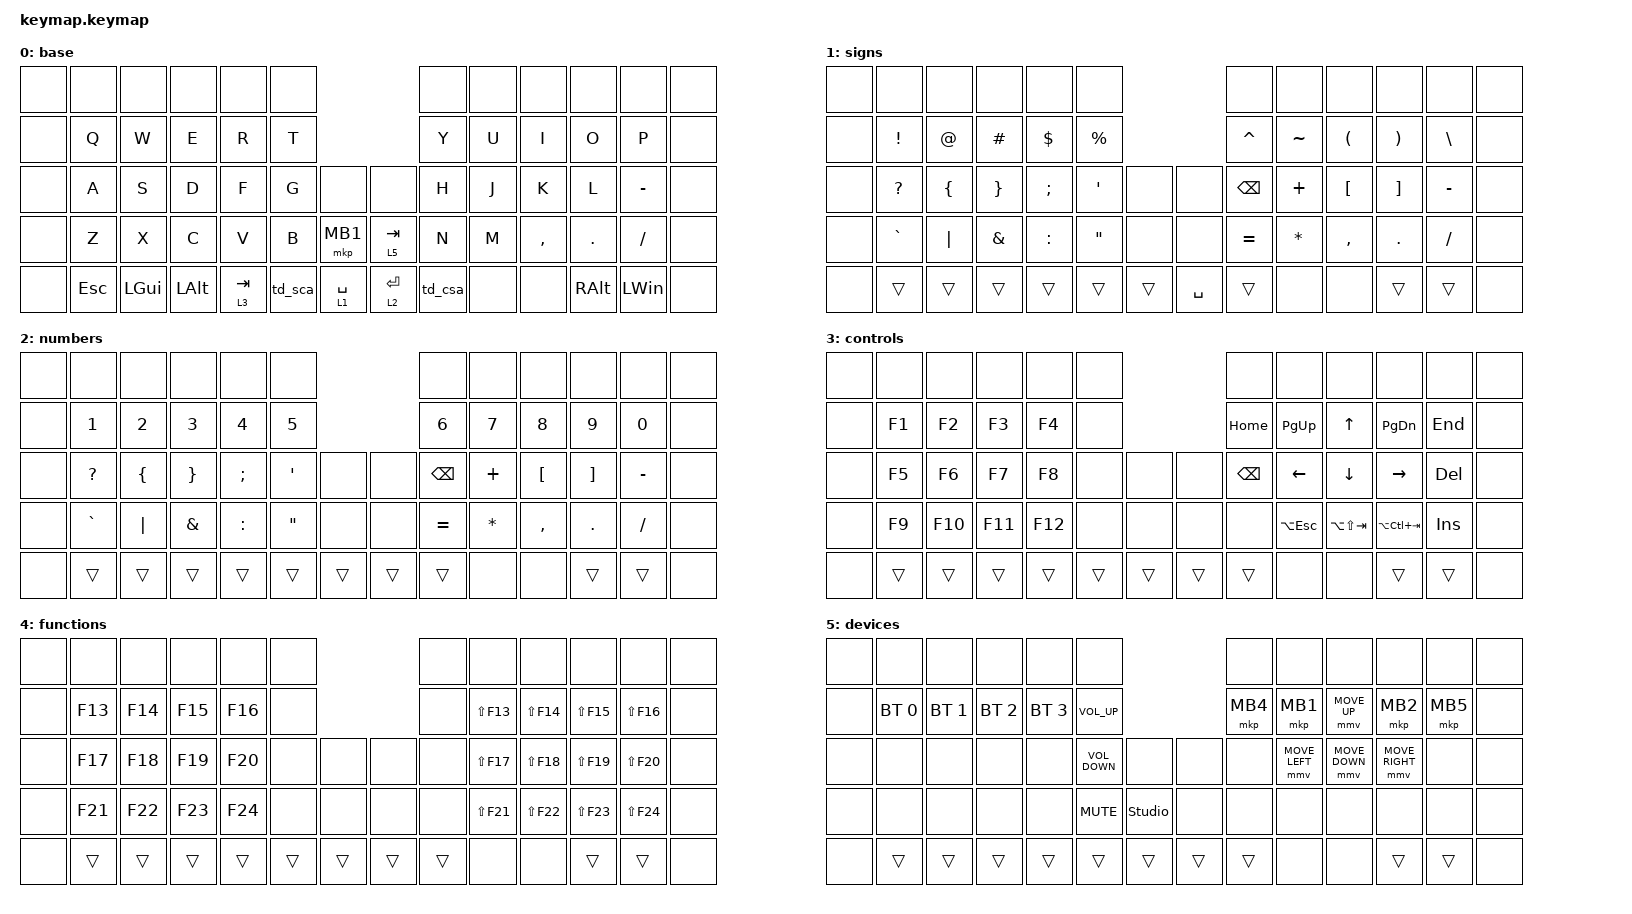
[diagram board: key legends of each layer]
#include <behaviors.dtsi>
#include <dt-bindings/zmk/bt.h>
#include <dt-bindings/zmk/keys.h>
#include <dt-bindings/zmk/pointing.h>

/ {
    combos {
        compatible = "zmk,combos";

        mb2 {
            bindings = <&mkp MB2>;
            key-positions = <34 35>;
            layers = <0>;
        };

        mb3 {
            bindings = <&mkp MB3>;
            key-positions = <33 34>;
            layers = <0>;
        };

        mb4 {
            bindings = <&mkp MB4>;
            key-positions = <33 34>;
            layers = <1>;
        };

        mb5 {
            bindings = <&mkp MB5>;
            key-positions = <34 35>;
            layers = <1>;
        };

        mo4 {
            bindings = <&lt 4 LS(LA(LC(INSERT)))>;
            key-positions = <58 59>;
        };

        lang {
            bindings = <&mt LEFT_ALT LANGUAGE_1>;
            key-positions = <57 60>;
        };

        mb3b {
            bindings = <&mkp MB3>;
            key-positions = <19 21>;
            layers = <5>;
        };

        semicolon {
            bindings = <&kp SEMI>;
            key-positions = <35 36>;
        };

        quotes {
            bindings = <&kp SINGLE_QUOTE>;
            key-positions = <50 49>;
        };

        colon {
            bindings = <&kp COLON>;
            key-positions = <35 36>;
            layers = <1 2>;
        };

        dquote {
            bindings = <&kp DOUBLE_QUOTES>;
            key-positions = <49 50>;
            layers = <1 2>;
        };

        lalt {
            bindings = <&kp LEFT_ALT>;
            key-positions = <28 26>;
        };

        ralt {
            bindings = <&kp RIGHT_ALT>;
            key-positions = <33 35>;
        };

        lctrl {
            bindings = <&kp LCTRL>;
            key-positions = <25 27>;
        };

        rctrl {
            bindings = <&kp RCTRL>;
            key-positions = <34 36>;
        };
    };

    behaviors {
        td_sca: td_sca {
            compatible = "zmk,behavior-tap-dance";
            label = "tap dance (SHIFT, CTRL, ALT)";
            #binding-cells = <0>;
            bindings = <&kp LEFT_SHIFT>, <&kp LEFT_CONTROL>, <&kp LEFT_ALT>;

            tapping-term-ms = <300>;
        };

        td_csa: td_csa {
            compatible = "zmk,behavior-tap-dance";
            label = "tap dance (CTRL, SHIFT, ALT)";
            #binding-cells = <0>;
            tapping-term-ms = <300>;
            bindings = <&kp RIGHT_CONTROL>, <&kp RIGHT_SHIFT>, <&kp RIGHT_ALT>;
        };
    };

    keymap {
        compatible = "zmk,keymap";

        base {
            bindings = <
&none  &none       &none     &none     &none      &none                            &none    &none  &none      &none          &none         &none
&none  &kp Q       &kp W     &kp E     &kp R      &kp T                            &kp Y    &kp U  &kp I      &kp O          &kp P         &none
&none  &kp A       &kp S     &kp D     &kp F      &kp G    &none        &none      &kp H    &kp J  &kp K      &kp L          &kp MINUS     &none
&none  &kp Z       &kp X     &kp C     &kp V      &kp B    &mkp MB1     &lt 5 TAB  &kp N    &kp M  &kp COMMA  &kp DOT        &kp SLASH     &none
&none  &kp ESCAPE  &kp LGUI  &kp LALT  &lt 3 TAB  &td_sca  &lt 1 SPACE  &lt 2 RET  &td_csa  &none  &none      &kp RIGHT_ALT  &kp LEFT_WIN  &none
            >;
        };

        signs {
            bindings = <
&none  &none         &none           &none            &none       &none                                 &none          &none         &none                 &none                  &none          &none
&none  &kp EXCL      &kp AT          &kp HASH         &kp DOLLAR  &kp PERCENT                           &kp CARET      &kp TILDE     &kp LEFT_PARENTHESIS  &kp RIGHT_PARENTHESIS  &kp BACKSLASH  &none
&none  &kp QUESTION  &kp LEFT_BRACE  &kp RIGHT_BRACE  &kp SEMI    &kp SINGLE_QUOTE   &none   &none      &kp BACKSPACE  &kp PLUS      &kp LEFT_BRACKET      &kp RIGHT_BRACKET      &kp MINUS      &none
&none  &kp GRAVE     &kp PIPE        &kp AMPS         &kp COLON   &kp DOUBLE_QUOTES  &none   &none      &kp EQUAL      &kp ASTERISK  &kp COMMA             &kp PERIOD             &kp SLASH      &none
&none  &trans        &trans          &trans           &trans      &trans             &trans  &kp SPACE  &trans         &none         &none                 &trans                 &trans         &none
            >;
        };

        numbers {
            bindings = <
&none  &none         &none           &none            &none         &none                              &none          &none         &none             &none              &none      &none
&none  &kp NUMBER_1  &kp NUMBER_2    &kp NUMBER_3     &kp NUMBER_4  &kp N5                             &kp NUMBER_6   &kp N7        &kp N8            &kp N9             &kp N0     &none
&none  &kp QUESTION  &kp LEFT_BRACE  &kp RIGHT_BRACE  &kp SEMI      &kp SINGLE_QUOTE   &none   &none   &kp BACKSPACE  &kp PLUS      &kp LEFT_BRACKET  &kp RIGHT_BRACKET  &kp MINUS  &none
&none  &kp GRAVE     &kp PIPE        &kp AMPS         &kp COLON     &kp DOUBLE_QUOTES  &none   &none   &kp EQUAL      &kp ASTERISK  &kp COMMA         &kp PERIOD         &kp SLASH  &none
&none  &trans        &trans          &trans           &trans        &trans             &trans  &trans  &trans         &none         &none             &trans             &trans     &none
            >;
        };

        controls {
            bindings = <
&none  &none   &none    &none    &none    &none                   &none          &none           &none            &none            &none       &none
&none  &kp F1  &kp F2   &kp F3   &kp F4   &none                   &kp HOME       &kp PAGE_UP     &kp UP_ARROW     &kp PAGE_DOWN    &kp END     &none
&none  &kp F5  &kp F6   &kp F7   &kp F8   &none   &none   &none   &kp BACKSPACE  &kp LEFT_ARROW  &kp DOWN_ARROW   &kp RIGHT_ARROW  &kp DELETE  &none
&none  &kp F9  &kp F10  &kp F11  &kp F12  &none   &none   &none   &none          &kp LA(ESCAPE)  &kp LA(LS(TAB))  &kp LA(LC(TAB))  &kp INS     &none
&none  &trans  &trans   &trans   &trans   &trans  &trans  &trans  &trans         &none           &none            &trans           &trans      &none
            >;
        };

        functions {
            bindings = <
&none  &none    &none    &none    &none    &none                   &none   &none        &none        &none        &none        &none
&none  &kp F13  &kp F14  &kp F15  &kp F16  &none                   &none   &kp LS(F13)  &kp LS(F14)  &kp LS(F15)  &kp LS(F16)  &none
&none  &kp F17  &kp F18  &kp F19  &kp F20  &none   &none   &none   &none   &kp LS(F17)  &kp LS(F18)  &kp LS(F19)  &kp LS(F20)  &none
&none  &kp F21  &kp F22  &kp F23  &kp F24  &none   &none   &none   &none   &kp LS(F21)  &kp LS(F22)  &kp LS(F23)  &kp LS(F24)  &none
&none  &trans   &trans   &trans   &trans   &trans  &trans  &trans  &trans  &none        &none        &trans       &trans       &none
            >;
        };

        devices {
            bindings = <
&none  &none         &none         &none         &none         &none                                      &none     &none           &none           &none            &none     &none
&none  &bt BT_SEL 0  &bt BT_SEL 1  &bt BT_SEL 2  &bt BT_SEL 3  &kp C_VOLUME_UP                            &mkp MB4  &mkp MB1        &mmv MOVE_UP    &mkp MB2         &mkp MB5  &none
&none  &none         &none         &none         &none         &kp C_VOLUME_DOWN  &none           &none   &none     &mmv MOVE_LEFT  &mmv MOVE_DOWN  &mmv MOVE_RIGHT  &none     &none
&none  &none         &none         &none         &none         &kp C_MUTE         &studio_unlock  &none   &none     &none           &none           &none            &none     &none
&none  &trans        &trans        &trans        &trans        &trans             &trans          &trans  &trans    &none           &none           &trans           &trans    &none
            >;
        };
    };
};
